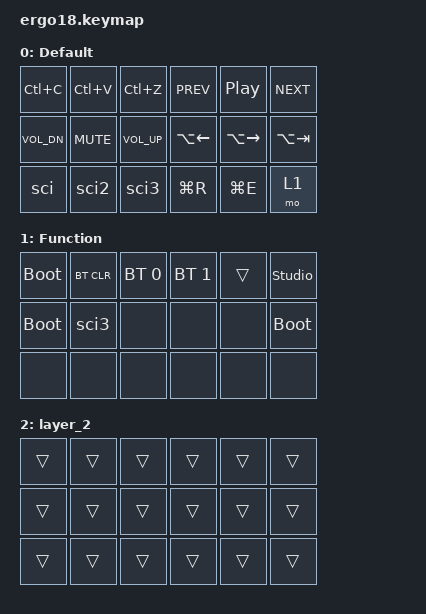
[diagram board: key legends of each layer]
#include <behaviors.dtsi>
#include <dt-bindings/zmk/bt.h>
#include <dt-bindings/zmk/keys.h>

/ {
    behaviors {
        td0: tap_dance_0 {
            compatible = "zmk,behavior-tap-dance";
            #binding-cells = <0>;
            tapping-term-ms = <135>;
            bindings = <&kp M>, <&tog 1>;
        };
    };

    macros {
        sci: new_macro {
            compatible = "zmk,behavior-macro";
            #binding-cells = <0>;
            bindings = <&kp S &kp M &kp A &kp R &kp T &kp MINUS &kp T &kp E &kp K>;
            label = "NEW_MACRO";
        };

        sci2: sci2 {
            compatible = "zmk,behavior-macro";
            #binding-cells = <0>;
            bindings = <&kp T &kp E &kp S &kp T &kp SPACE &kp M &kp E &kp S &kp S &kp A &kp G &kp E &kp SPACE &kp H &kp E &kp R &kp E &kp SPACE &kp O &kp R &kp SPACE &kp P &kp A &kp S &kp S &kp W &kp O &kp R &kp D>;
            label = "SCI2";
        };

        sci3: sci3 {
            compatible = "zmk,behavior-macro";
            #binding-cells = <0>;
            bindings = <&kp T &kp E &kp S &kp T &kp SPACE &kp T &kp E &kp M &kp P &kp L &kp A &kp T &kp E &kp SPACE &kp H &kp E &kp R &kp E>;
            label = "SCI3";
        };
    };

    keymap {
        compatible = "zmk,keymap";

        default_layer {
            display-name = "Default";
            bindings = <
&kp LC(C)     &kp LC(V)   &kp LC(Z)        &kp C_PREV          &kp C_PP             &kp C_NEXT
&kp C_VOL_DN  &kp C_MUTE  &kp C_VOLUME_UP  &kp LA(LEFT_ARROW)  &kp LA(RIGHT_ARROW)  &kp LA(TAB)
&sci          &sci2       &sci3            &kp LG(R)           &kp LG(E)            &mo 1
            >;
        };

        function_layer {
            display-name = "Function";
            bindings = <
&bootloader  &bt BT_CLR  &bt BT_SEL 0  &bt BT_SEL 1  &trans  &studio_unlock
&bootloader  &sci3       &none         &none         &none   &bootloader
&none        &none       &none         &none         &none   &none
            >;
        };

        layer_2 {
            bindings = <
&trans  &trans  &trans  &trans  &trans  &trans
&trans  &trans  &trans  &trans  &trans  &trans
&trans  &trans  &trans  &trans  &trans  &trans
            >;
        };
    };
};
